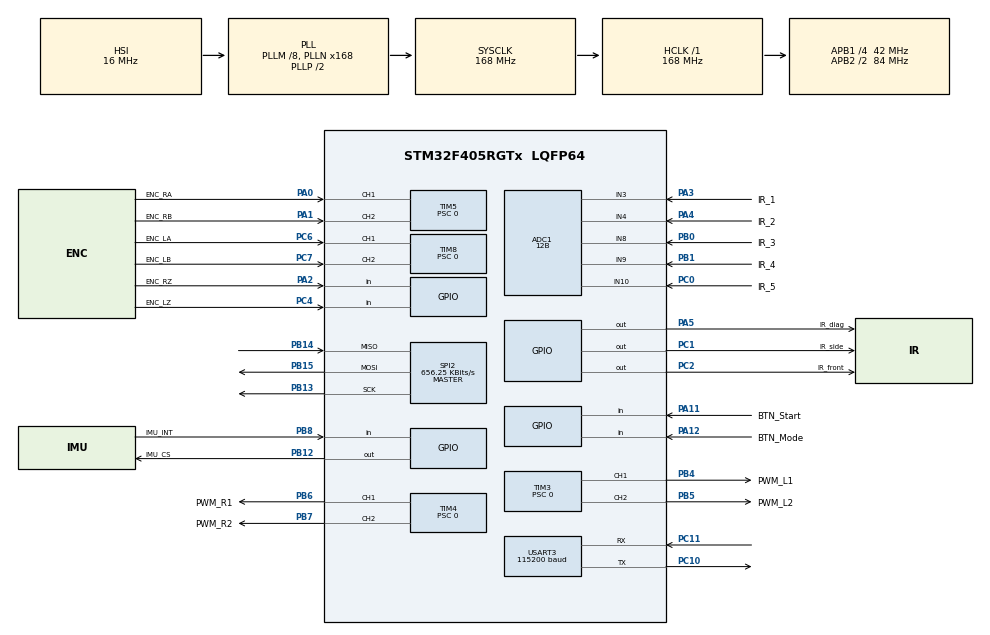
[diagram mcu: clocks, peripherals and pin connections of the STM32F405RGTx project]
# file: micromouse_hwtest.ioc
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ADC1.Channel-0\#ChannelRegularConversion=ADC_CHANNEL_3
ADC1.ClockPrescaler=ADC_CLOCK_SYNC_PCLK_DIV4
ADC1.ContinuousConvMode=DISABLE
ADC1.DMAContinuousRequests=DISABLE
ADC1.DataAlign=ADC_DATAALIGN_RIGHT
ADC1.DiscontinuousConvMode=DISABLE
ADC1.EOCSelection=ADC_EOC_SINGLE_CONV
ADC1.ExternalTrigConv=ADC_SOFTWARE_START
ADC1.ExternalTrigConvEdge=ADC_EXTERNALTRIGCONVEDGE_NONE
ADC1.NbrOfConversion=1
ADC1.NbrOfConversionFlag=1
ADC1.Rank-0\#ChannelRegularConversion=1
ADC1.Resolution=ADC_RESOLUTION_12B
ADC1.SamplingTime-0\#ChannelRegularConversion=ADC_SAMPLETIME_144CYCLES
ADC1.ScanConvMode=DISABLE
ADC1.master=1
Mcu.Family=STM32F4
Mcu.Name=STM32F405RGTx
Mcu.Package=LQFP64
NVIC.PriorityGroup=NVIC_PRIORITYGROUP_4
PA0-WKUP.GPIO_Label=ENC_RA
PA0-WKUP.Signal=S_TIM5_CH1
PA1.GPIO_Label=ENC_RB
PA1.Signal=S_TIM5_CH2
PA2.GPIO_Label=ENC_RZ
PA2.GPIO_PuPd=GPIO_PULLUP
PA2.Signal=GPIO_Input
PA13.Mode=Serial_Wire
PA13.Signal=SYS_JTMS-SWDIO
PA14.Mode=Serial_Wire
PA14.Signal=SYS_JTCK-SWCLK
PA3.GPIO_Label=IR_1
PA3.Signal=ADCx_IN3
PA4.GPIO_Label=IR_2
PA4.Signal=ADCx_IN4
PA5.GPIO_Label=IR_diag
PA5.GPIO_PuPd=GPIO_NOPULL
PA5.GPIO_Speed=GPIO_SPEED_FREQ_LOW
PA5.PinState=GPIO_PIN_RESET
PA5.Signal=GPIO_Output
PA11.GPIO_Label=BTN_Start
PA11.GPIO_PuPd=GPIO_NOPULL
PA11.Signal=GPIO_Input
PA12.GPIO_Label=BTN_Mode
PA12.GPIO_PuPd=GPIO_NOPULL
PA12.Signal=GPIO_Input
PB0.GPIO_Label=IR_3
PB0.Signal=ADCx_IN8
PB1.GPIO_Label=IR_4
PB1.Signal=ADCx_IN9
PB12.GPIO_Label=IMU_CS
PB12.GPIO_PuPd=GPIO_NOPULL
PB12.GPIO_Speed=GPIO_SPEED_FREQ_LOW
PB12.PinState=GPIO_PIN_SET
PB12.Signal=GPIO_Output
PB13.Mode=Full_Duplex_Master
PB13.Signal=SPI2_SCK
PB14.Mode=Full_Duplex_Master
PB14.Signal=SPI2_MISO
PB15.Mode=Full_Duplex_Master
PB15.Signal=SPI2_MOSI
PB4.GPIO_Label=PWM_L1
PB4.Signal=S_TIM3_CH1
PB5.GPIO_Label=PWM_L2
PB5.Signal=S_TIM3_CH2
PB6.GPIO_Label=PWM_R1
PB6.Signal=S_TIM4_CH1
PB7.GPIO_Label=PWM_R2
PB7.Signal=S_TIM4_CH2
PB8.GPIO_Label=IMU_INT
PB8.GPIO_PuPd=GPIO_NOPULL
PB8.Signal=GPIO_Input
PC0.GPIO_Label=IR_5
PC0.Signal=ADCx_IN10
PC1.GPIO_Label=IR_side
PC1.GPIO_PuPd=GPIO_NOPULL
PC1.GPIO_Speed=GPIO_SPEED_FREQ_LOW
PC1.PinState=GPIO_PIN_RESET
PC1.Signal=GPIO_Output
PC10.Mode=Asynchronous
PC10.Signal=USART3_TX
PC11.Mode=Asynchronous
PC11.Signal=USART3_RX
PC2.GPIO_Label=IR_front
PC2.GPIO_PuPd=GPIO_NOPULL
PC2.GPIO_Speed=GPIO_SPEED_FREQ_LOW
PC2.PinState=GPIO_PIN_RESET
PC2.Signal=GPIO_Output
PC4.GPIO_Label=ENC_LZ
PC4.GPIO_PuPd=GPIO_PULLUP
PC4.Signal=GPIO_Input
PC6.GPIO_Label=ENC_LA
PC6.Signal=S_TIM8_CH1
PC7.GPIO_Label=ENC_LB
PC7.Signal=S_TIM8_CH2
ProjectManager.HeapSize=0x200
ProjectManager.StackSize=0x400
ProjectManager.TargetToolchain=CMake
RCC.AHBCLKDivider=RCC_SYSCLK_DIV1
RCC.AHBFreq_Value=168000000
RCC.APB1CLKDivider=RCC_HCLK_DIV4
RCC.APB1Freq_Value=42000000
RCC.APB1TimFreq_Value=84000000
RCC.APB2CLKDivider=RCC_HCLK_DIV2
RCC.APB2Freq_Value=84000000
RCC.APB2TimFreq_Value=168000000
RCC.CortexFreq_Value=168000000
RCC.HCLKFreq_Value=168000000
RCC.HSE_VALUE=25000000
RCC.HSI_VALUE=16000000
RCC.LSE_VALUE=32768
RCC.PLLM=8
RCC.PLLN=168
RCC.PLLP=RCC_PLLP_DIV2
RCC.PLLQ=7
RCC.PLLSourceVirtual=RCC_PLLSOURCE_HSI
RCC.SYSCLKFreq_VALUE=168000000
RCC.SYSCLKSource=RCC_SYSCLKSOURCE_PLLCLK
RCC.VCOOutputFreq_Value=336000000
SH.ADCx_IN3.0=ADC1_IN3,IN3
SH.ADCx_IN4.0=ADC1_IN4,IN4
SH.ADCx_IN8.0=ADC1_IN8,IN8
SH.ADCx_IN9.0=ADC1_IN9,IN9
SH.ADCx_IN10.0=ADC1_IN10,IN10
SH.S_TIM3_CH1.0=TIM3_CH1,PWM Generation1 CH1
SH.S_TIM3_CH2.0=TIM3_CH2,PWM Generation2 CH2
SH.S_TIM4_CH1.0=TIM4_CH1,PWM Generation1 CH1
SH.S_TIM4_CH2.0=TIM4_CH2,PWM Generation2 CH2
SH.S_TIM5_CH1.0=TIM5_CH1,Encoder_Interface
SH.S_TIM5_CH2.0=TIM5_CH2,Encoder_Interface
SH.S_TIM8_CH1.0=TIM8_CH1,Encoder_Interface
SH.S_TIM8_CH2.0=TIM8_CH2,Encoder_Interface
SPI2.BaudRatePrescaler=SPI_BAUDRATEPRESCALER_64
SPI2.CLKPhase=SPI_PHASE_1EDGE
SPI2.CLKPolarity=SPI_POLARITY_LOW
SPI2.CRCCalculation=SPI_CRCCALCULATION_DISABLE
SPI2.CalculateBaudRate=656.25 KBits/s
SPI2.DataSize=SPI_DATASIZE_8BIT
SPI2.Direction=SPI_DIRECTION_2LINES
SPI2.FirstBit=SPI_FIRSTBIT_MSB
SPI2.Mode=SPI_MODE_MASTER
SPI2.NSS=SPI_NSS_SOFT
SPI2.TIMode=SPI_TIMODE_DISABLE
SPI2.VirtualType=VM_MASTER
TIM3.AutoReloadPreload=TIM_AUTORELOAD_PRELOAD_ENABLE
TIM3.Channel-PWM\ Generation1\ CH1=TIM_CHANNEL_1
TIM3.Channel-PWM\ Generation2\ CH2=TIM_CHANNEL_2
TIM3.Period=4199
TIM3.Prescaler=0
TIM3.Pulse-PWM\ Generation1\ CH1=0
TIM3.Pulse-PWM\ Generation2\ CH2=0
TIM4.AutoReloadPreload=TIM_AUTORELOAD_PRELOAD_ENABLE
TIM4.Channel-PWM\ Generation1\ CH1=TIM_CHANNEL_1
TIM4.Channel-PWM\ Generation2\ CH2=TIM_CHANNEL_2
TIM4.Period=4199
TIM4.Prescaler=0
TIM4.Pulse-PWM\ Generation1\ CH1=0
TIM4.Pulse-PWM\ Generation2\ CH2=0
TIM5.EncoderMode=TIM_ENCODERMODE_TI12
TIM5.IC1Filter=0
TIM5.IC1Polarity=TIM_ICPOLARITY_RISING
TIM5.IC1Prescaler=TIM_ICPSC_DIV1
TIM5.IC1Selection=TIM_ICSELECTION_DIRECTTI
TIM5.IC2Filter=0
TIM5.IC2Polarity=TIM_ICPOLARITY_RISING
TIM5.IC2Prescaler=TIM_ICPSC_DIV1
TIM5.IC2Selection=TIM_ICSELECTION_DIRECTTI
TIM5.Period=4294967295
TIM5.Prescaler=0
TIM8.EncoderMode=TIM_ENCODERMODE_TI12
TIM8.IC1Filter=0
TIM8.IC1Polarity=TIM_ICPOLARITY_RISING
TIM8.IC1Prescaler=TIM_ICPSC_DIV1
TIM8.IC1Selection=TIM_ICSELECTION_DIRECTTI
TIM8.IC2Filter=0
TIM8.IC2Polarity=TIM_ICPOLARITY_RISING
TIM8.IC2Prescaler=TIM_ICPSC_DIV1
TIM8.IC2Selection=TIM_ICSELECTION_DIRECTTI
TIM8.Period=65535
TIM8.Prescaler=0
USART3.BaudRate=115200
USART3.Mode=MODE_TX_RX
USART3.OverSampling=UART_OVERSAMPLING_16
USART3.Parity=PARITY_NONE
USART3.StopBits=STOPBITS_1
USART3.VirtualMode=VM_ASYNC
USART3.WordLength=WORDLENGTH_8B
VP_TIM3_VS_ClockSourceINT.Mode=Internal
VP_TIM4_VS_ClockSourceINT.Mode=Internal
board=custom

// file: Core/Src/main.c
/* USER CODE BEGIN Header */
/**
  ******************************************************************************
  * @file           : main.c
  * @brief          : Main program body
  ******************************************************************************
  * @attention
  *
  * Copyright (c) 2026 STMicroelectronics.
  * All rights reserved.
  *
  * This software is licensed under terms that can be found in the LICENSE file
  * in the root directory of this software component.
  * If no LICENSE file comes with this software, it is provided AS-IS.
  *
  ******************************************************************************
  */
/* USER CODE END Header */
#include "main.h"
#include "adc.h"
#include "spi.h"
#include "tim.h"
#include "usart.h"
#include "gpio.h"

/* USER CODE BEGIN Includes */
#include "hardware_tests_api.h"
#include "icm20602_minimal_c.h"
/* USER CODE END Includes */

/* USER CODE BEGIN PD */
#define GYRO_IDENTITY_ONLY 0/* 0: gyro C++; 1/2: probe C++; 3: ID C; 4: rà cấu hình C;
                              5: thử gyro C dù ID sai, xem icm_c_gyro. */

/* USER CODE END PD */

/* USER CODE BEGIN PV */
volatile uint32_t test_started = 0; /* Watch hiển thị số, không kèm ký tự char. */
/* USER CODE END PV */

void SystemClock_Config(void);

int main(void)
{

  /* MCU Configuration--------------------------------------------------------*/

  /* Reset of all peripherals, Initializes the Flash interface and the Systick. */
   HAL_Init();

  /* Configure the system clock */
  SystemClock_Config();

  /* Initialize all configured peripherals */
  MX_GPIO_Init();
#if GYRO_IDENTITY_ONLY >= 3
  MX_SPI2_Init(); /* Bài C chỉ khởi tạo GPIO/SPI, loại ảnh hưởng ADC/TIM/UART. */
#else
  MX_ADC1_Init();
  MX_SPI2_Init();
  MX_TIM3_Init();
  MX_TIM4_Init();
  MX_TIM5_Init();
  MX_TIM8_Init();
  MX_USART3_UART_Init();
#endif
  /* USER CODE BEGIN 2 */
  test_started = 0; /* Giữ biến trạng thái trong ELF để Watch đọc đúng ở mode chẩn đoán. */
#if GYRO_IDENTITY_ONLY == 5
  test_started = IcmC_GyroBeginUnverified(); /* Chỉ kết quả readback, chưa xác nhận IMU. */
  IcmC_AnglesStartCalibration(2000); /* Giữ module yên, chờ ready=1 (2000 mẫu).
                                     Poll tự hiệu chuẩn rồi cập nhật roll/pitch/yaw. */
#elif GYRO_IDENTITY_ONLY >= 3
  IcmC_Begin(); /* Bài test C độc lập; không gọi Begin/driver C++ trước bài này. */
#if GYRO_IDENTITY_ONLY == 4
  IcmC_ConfigAudit(); /* Dò cấu hình một lần, khôi phục nếu không có ID12 ổn định. */
#endif
#elif GYRO_IDENTITY_ONLY
  HardwareTests_ReadOnlyGyroProbe(); /* Không gọi Begin trước bài chỉ đọc. */
#if GYRO_IDENTITY_ONLY == 2
  HardwareTests_ProbeGyroBus(); /* Ghi divider tạm thời rồi khôi phục, không bật gyro. */
  HardwareTests_ProbeGyroI2c(); /* Đối chiếu ID độc lập qua I2C, sau đó trả pin về SPI. */
#endif
#else
  HardwareTests_Begin();
  test_started = HardwareTests_TestIR();
  /* Chỉ khi init thường thất bại: dò mode/tốc độ một lần, giữ nguyên pin.
     Hàm dò không báo thành công chỉ vì HAL_OK: phải đúng ID và readback. */
  // if (!test_started && HardwareTests_ProbeGyroSpi())
  // {
  //   test_started = HardwareTests_TestGyro();
  // }
#endif
  /* USER CODE END 2 */

  /* Infinite loop */
  while (1)
  {

    /* USER CODE BEGIN 3 */
#if GYRO_IDENTITY_ONLY == 5
    IcmC_GyroPollUnverified(); /* Bài bench: dữ liệu gyro, ID thực vẫn được giữ lại. */
#elif GYRO_IDENTITY_ONLY >= 3
    IcmC_Poll(); /* Chỉ kiểm tra ID, xem biến icm_c trong Watch. */
#else
    HardwareTests_Update();
#endif
  }
  /* USER CODE END 3 */
}

void SystemClock_Config(void)
{
  RCC_OscInitTypeDef RCC_OscInitStruct = {0};
  RCC_ClkInitTypeDef RCC_ClkInitStruct = {0};

  /** Configure the main internal regulator output voltage
  */
  __HAL_RCC_PWR_CLK_ENABLE();
  __HAL_PWR_VOLTAGESCALING_CONFIG(PWR_REGULATOR_VOLTAGE_SCALE1);

  /** Initializes the RCC Oscillators according to the specified parameters
  * in the RCC_OscInitTypeDef structure.
  */
  RCC_OscInitStruct.OscillatorType = RCC_OSCILLATORTYPE_HSI;
  RCC_OscInitStruct.HSIState = RCC_HSI_ON;
  RCC_OscInitStruct.HSICalibrationValue = RCC_HSICALIBRATION_DEFAULT;
  RCC_OscInitStruct.PLL.PLLState = RCC_PLL_ON;
  RCC_OscInitStruct.PLL.PLLSource = RCC_PLLSOURCE_HSI;
  RCC_OscInitStruct.PLL.PLLM = 8;
  RCC_OscInitStruct.PLL.PLLN = 168;
  RCC_OscInitStruct.PLL.PLLP = RCC_PLLP_DIV2;
  RCC_OscInitStruct.PLL.PLLQ = 7;
  if (HAL_RCC_OscConfig(&RCC_OscInitStruct) != HAL_OK)
  {
    Error_Handler();
  }

  /** Initializes the CPU, AHB and APB buses clocks
  */
  RCC_ClkInitStruct.ClockType = RCC_CLOCKTYPE_HCLK|RCC_CLOCKTYPE_SYSCLK
                              |RCC_CLOCKTYPE_PCLK1|RCC_CLOCKTYPE_PCLK2;
  RCC_ClkInitStruct.SYSCLKSource = RCC_SYSCLKSOURCE_PLLCLK;
  RCC_ClkInitStruct.AHBCLKDivider = RCC_SYSCLK_DIV1;
  RCC_ClkInitStruct.APB1CLKDivider = RCC_HCLK_DIV4;
  RCC_ClkInitStruct.APB2CLKDivider = RCC_HCLK_DIV2;

  if (HAL_RCC_ClockConfig(&RCC_ClkInitStruct, FLASH_LATENCY_5) != HAL_OK)
  {
    Error_Handler();
  }
}

void Error_Handler(void)
{
  __disable_irq();
  while (1)
  {
  }
}
